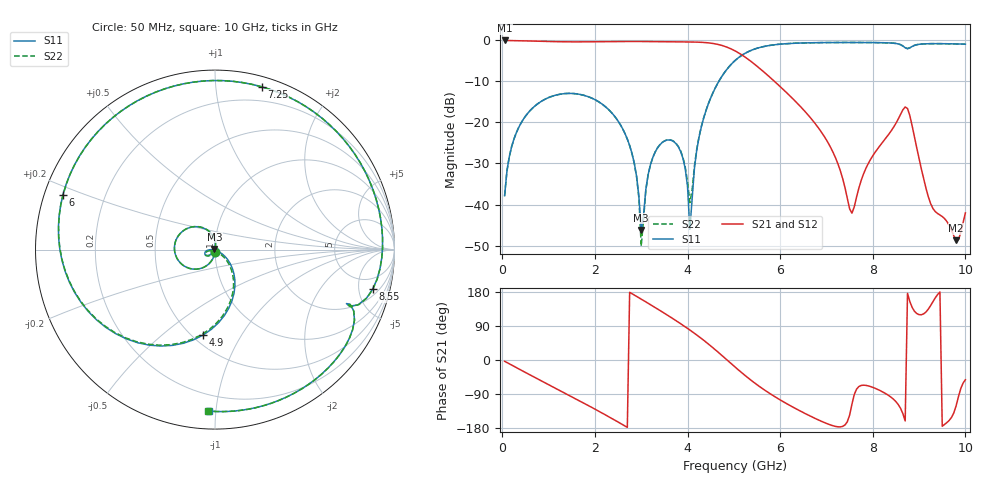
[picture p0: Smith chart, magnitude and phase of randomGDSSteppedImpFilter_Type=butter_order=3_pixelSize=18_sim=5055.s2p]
! freq	dB(S11)	phase(S11)	dB(S12)	phase(S12)
!  dB(S21)	phase(S21)	dB(S22)	phase(S22)
!S-par simulation data
#  GHz  S  DB  R 50
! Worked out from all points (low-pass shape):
!   200 points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, 50 MHz to 10 GHz, reference 50 ohm
!   highest |S21| = -0.01 dB at 50 MHz (marker M1); lowest = -48.7 dB at 9.8 GHz (marker M2)
!   |S21| within 3 dB of the highest: start of sweep to 5.098 GHz
!   lowest |S11| = -46.2 dB at 3 GHz (marker M3), VSWR 1.01, Z = 49.7 + j0.38 ohm
!   |S11| at or under -10 dB: start of sweep to 4.675 GHz
!   |S22| runs from -50.2 to -0.5 dB; largest |S21 - S12| = 0
!   S11 on the Smith chart (normalised r, x): 50 MHz: 1.00, -0.03; 4.9 GHz: 0.56, -0.70; 6 GHz: 0.05, +0.17; 7.25 GHz: 0.08, +1.32; 8.55 GHz: 2.87, -7.02; 10 GHz: 0.10, -0.96
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0.05  -37.86 -92.7  -0.01 -3.4  -0.01 -3.4  -37.86 -92.7
0.55  -17.75 -126.5  -0.12 -36.2  -0.12 -36.2  -17.75 -126.6
1.75  -13.34 156.6  -0.35 -113.2  -0.35 -113.2  -13.34 156.4
2.7  -24.04 95.1  -0.24 -177.7  -0.24 -177.7  -24.07 92.9
2.9  -33.12 87.3  -0.25 167.9  -0.25 167.9  -33.29 79.9
3  -46.21 128.6  -0.26 160.6  -0.26 160.6  -50.16 110.1
3.15  -32.67 -129.4  -0.27 149.6  -0.27 149.6  -32.72 -120.9
3.4  -25.48 -142.2  -0.31 131.0  -0.31 131.0  -25.46 -137.8
3.85  -27.04 -173.7  -0.36 95.9  -0.36 95.9  -26.91 -166.4
4.05  -46.01 -143.6  -0.37 79.1  -0.37 79.1  -39.53 -122.1
4.3  -20.97 -38.2  -0.46 56.7  -0.46 56.7  -20.90 -43.2
4.9  -6.36 -97.9  -1.86 -5.0  -1.86 -5.0  -6.36 -99.1
5.05  -4.67 -114.0  -2.69 -21.0  -2.69 -21.0  -4.67 -115.0
6  -0.91 160.1  -11.25 -105.3  -11.25 -105.3  -0.91 159.7
6.7  -0.56 110.8  -19.47 -151.0  -19.47 -151.0  -0.56 110.5
7.25  -0.50 74.1  -30.17 -176.4  -30.17 -176.4  -0.50 73.8
7.55  -0.50 54.1  -42.10 -116.8  -42.10 -116.8  -0.50 53.9
8.35  -0.60 0.5  -22.80 -94.3  -22.80 -94.3  -0.60 0.5
8.55  -0.85 -13.9  -19.16 -117.5  -19.16 -117.5  -0.84 -13.9
8.75  -2.03 -22.3  -16.60 175.9  -16.60 175.9  -1.98 -22.4
9.8  -0.85 -81.2  -48.71 -120.8  -48.71 -120.8  -0.85 -81.3
10  -0.91 -92.3  -42.05 -52.2  -42.05 -52.2  -0.91 -92.4
